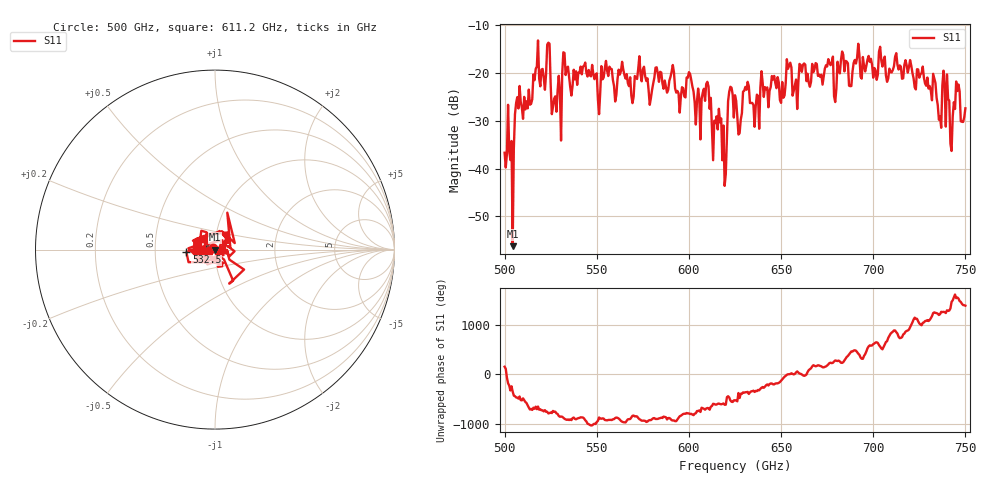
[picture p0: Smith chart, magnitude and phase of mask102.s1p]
!Created with skrf (http://scikit-rf.org).
# GHz S MA R 50.0
!freq magS11 angS11
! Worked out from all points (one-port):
!   401 points, 500 GHz to 750 GHz, reference 50 ohm
!   lowest |S11| = -56.2 dB at 504.4 GHz (marker M1), VSWR 1.00, Z = 50.2 + j0.0356 ohm
!   |S11| at or under -10 dB: start of sweep to end of sweep
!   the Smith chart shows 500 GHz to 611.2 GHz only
!   S11 on the Smith chart (normalised r, x): 500 GHz: 0.97, +0.01; 532.5 GHz: 0.72, -0.02; 611.2 GHz: 1.09, +0.01
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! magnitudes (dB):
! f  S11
! 500 GHz  -36.7
! 504.4 GHz  -56.2
! 506.9 GHz  -25.1
! 513.8 GHz  -26.7
! 516.9 GHz  -19.2
! 523.8 GHz  -13.7
! 526.9 GHz  -25.4
! 531.2 GHz  -20.2
! 532.5 GHz  -15.9
! 550.6 GHz  -25.6
! 562.5 GHz  -20.4
! 593.8 GHz  -23.8
! 600 GHz  -19.9
! 605 GHz  -23.3
! 611.2 GHz  -27.5
! 619.4 GHz  -43.6
! 622.5 GHz  -22.9
! 625 GHz  -24.7
! 627.5 GHz  -32.6
! 656.2 GHz  -24.8
! 687.5 GHz  -22.8
! 691.2 GHz  -16.9
! 718.8 GHz  -20.0
! 735.6 GHz  -29.8
! 738.8 GHz  -22.9
! 741.9 GHz  -34.8
! 745.6 GHz  -23.8
! 750 GHz  -27.4
